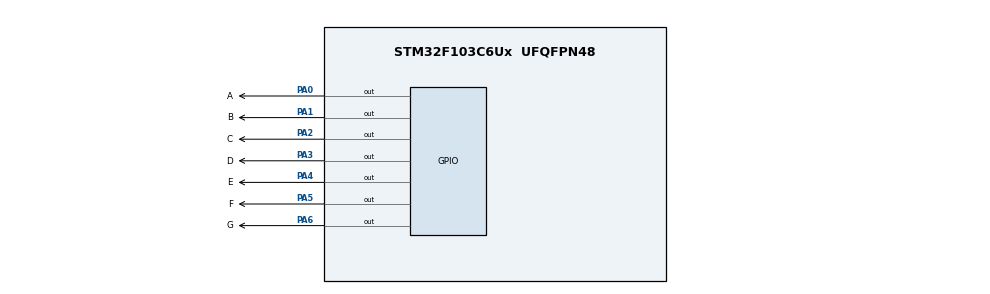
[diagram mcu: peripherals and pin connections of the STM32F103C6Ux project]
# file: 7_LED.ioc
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Mcu.Family=STM32F1
Mcu.Name=STM32F103C6Ux
Mcu.Package=UFQFPN48
NVIC.PriorityGroup=NVIC_PRIORITYGROUP_4
PA0-WKUP.GPIO_Label=A
PA0-WKUP.Signal=GPIO_Output
PA1.GPIO_Label=B
PA1.Signal=GPIO_Output
PA2.GPIO_Label=C
PA2.Signal=GPIO_Output
PA3.GPIO_Label=D
PA3.Signal=GPIO_Output
PA4.GPIO_Label=E
PA4.Signal=GPIO_Output
PA5.GPIO_Label=F
PA5.Signal=GPIO_Output
PA6.GPIO_Label=G
PA6.Signal=GPIO_Output
ProjectManager.HeapSize=0x200
ProjectManager.StackSize=0x400
ProjectManager.TargetToolchain=STM32CubeIDE
RCC.APB1Freq_Value=8000000
RCC.APB2Freq_Value=8000000
VP_SYS_VS_ND.Mode=No_Debug
board=custom

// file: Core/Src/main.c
/* USER CODE BEGIN Header */
/**
  ******************************************************************************
  * @file           : main.c
  * @brief          : Main program body
  ******************************************************************************
  * @attention
  *
  * <h2><center>&copy; Copyright (c) 2022 STMicroelectronics.
  * All rights reserved.</center></h2>
  *
  * This software component is licensed by ST under BSD 3-Clause license,
  * the "License"; You may not use this file except in compliance with the
  * License. You may obtain a copy of the License at:
  *                        opensource.org/licenses/BSD-3-Clause
  *
  ******************************************************************************
  */
/* USER CODE END Header */
#include "main.h"

void SystemClock_Config(void);
static void MX_GPIO_Init(void);

/* USER CODE BEGIN 0 */
void display7SEG(int num){
  	  HAL_GPIO_WritePin(GPIOA, A_Pin|B_Pin|C_Pin|D_Pin|E_Pin|F_Pin|G_Pin, GPIO_PIN_SET);

  	  switch (num) {
  		case 0:
  			HAL_GPIO_WritePin(GPIOA, A_Pin|B_Pin|C_Pin|D_Pin|E_Pin|F_Pin, GPIO_PIN_RESET);
  			break;
  		case 1:
  			HAL_GPIO_WritePin(GPIOA, B_Pin|C_Pin, GPIO_PIN_RESET);
  			break;
  		case 2:
  			HAL_GPIO_WritePin(GPIOA, A_Pin|B_Pin|D_Pin|E_Pin|G_Pin, GPIO_PIN_RESET);
  			break;
  		case 3:
  			HAL_GPIO_WritePin(GPIOA, A_Pin|B_Pin|C_Pin|D_Pin|G_Pin, GPIO_PIN_RESET);
  			break;
  		case 4:
  			HAL_GPIO_WritePin(GPIOA, B_Pin|C_Pin|F_Pin|G_Pin, GPIO_PIN_RESET);
  			break;
  		case 5:
  			HAL_GPIO_WritePin(GPIOA, A_Pin|C_Pin|D_Pin|F_Pin|G_Pin, GPIO_PIN_RESET);
  			break;
  		case 6:
  			HAL_GPIO_WritePin(GPIOA, A_Pin|C_Pin|D_Pin|E_Pin|F_Pin|G_Pin, GPIO_PIN_RESET);
  			break;
  		case 7:
  			HAL_GPIO_WritePin(GPIOA, A_Pin|B_Pin|C_Pin, GPIO_PIN_RESET);
  			break;
  		case 8:
  			HAL_GPIO_WritePin(GPIOA, A_Pin|B_Pin|C_Pin|D_Pin|E_Pin|F_Pin|G_Pin, GPIO_PIN_RESET);
  			break;
  		case 9:
  			HAL_GPIO_WritePin(GPIOA, A_Pin|B_Pin|C_Pin|D_Pin|F_Pin|G_Pin, GPIO_PIN_RESET);
  			break;
  	 }
   }
/* USER CODE END 0 */

int main(void)
{

  /* MCU Configuration--------------------------------------------------------*/

  /* Reset of all peripherals, Initializes the Flash interface and the Systick. */
  HAL_Init();

  /* Configure the system clock */
  SystemClock_Config();

  /* Initialize all configured peripherals */
  MX_GPIO_Init();

  /* Infinite loop */
  /* USER CODE BEGIN WHILE */
  int counter = 0;
    while (1)
  {
    /* USER CODE END WHILE */
    /* USER CODE BEGIN 3 */
      if(counter >= 10) counter = 0;
	  display7SEG(counter++);
	  HAL_Delay(1000);
  }

  /* USER CODE END 3 */
}

void SystemClock_Config(void)
{
  RCC_OscInitTypeDef RCC_OscInitStruct = {0};
  RCC_ClkInitTypeDef RCC_ClkInitStruct = {0};

  /** Initializes the RCC Oscillators according to the specified parameters
  * in the RCC_OscInitTypeDef structure.
  */
  RCC_OscInitStruct.OscillatorType = RCC_OSCILLATORTYPE_HSI;
  RCC_OscInitStruct.HSIState = RCC_HSI_ON;
  RCC_OscInitStruct.HSICalibrationValue = RCC_HSICALIBRATION_DEFAULT;
  RCC_OscInitStruct.PLL.PLLState = RCC_PLL_NONE;
  if (HAL_RCC_OscConfig(&RCC_OscInitStruct) != HAL_OK)
  {
    Error_Handler();
  }
  /** Initializes the CPU, AHB and APB buses clocks
  */
  RCC_ClkInitStruct.ClockType = RCC_CLOCKTYPE_HCLK|RCC_CLOCKTYPE_SYSCLK
                              |RCC_CLOCKTYPE_PCLK1|RCC_CLOCKTYPE_PCLK2;
  RCC_ClkInitStruct.SYSCLKSource = RCC_SYSCLKSOURCE_HSI;
  RCC_ClkInitStruct.AHBCLKDivider = RCC_SYSCLK_DIV1;
  RCC_ClkInitStruct.APB1CLKDivider = RCC_HCLK_DIV1;
  RCC_ClkInitStruct.APB2CLKDivider = RCC_HCLK_DIV1;

  if (HAL_RCC_ClockConfig(&RCC_ClkInitStruct, FLASH_LATENCY_0) != HAL_OK)
  {
    Error_Handler();
  }
}

static void MX_GPIO_Init(void)
{
  GPIO_InitTypeDef GPIO_InitStruct = {0};

  /* GPIO Ports Clock Enable */
  __HAL_RCC_GPIOA_CLK_ENABLE();

  /*Configure GPIO pin Output Level */
  HAL_GPIO_WritePin(GPIOA, A_Pin|B_Pin|C_Pin|D_Pin
                          |E_Pin|F_Pin|G_Pin, GPIO_PIN_RESET);

  /*Configure GPIO pins : A_Pin B_Pin C_Pin D_Pin
                           E_Pin F_Pin G_Pin */
  GPIO_InitStruct.Pin = A_Pin|B_Pin|C_Pin|D_Pin
                          |E_Pin|F_Pin|G_Pin;
  GPIO_InitStruct.Mode = GPIO_MODE_OUTPUT_PP;
  GPIO_InitStruct.Pull = GPIO_NOPULL;
  GPIO_InitStruct.Speed = GPIO_SPEED_FREQ_LOW;
  HAL_GPIO_Init(GPIOA, &GPIO_InitStruct);

}

void Error_Handler(void)
{
  __disable_irq();
  while (1)
  {
  }
}

/************************ (C) COPYRIGHT STMicroelectronics *****END OF FILE****/
